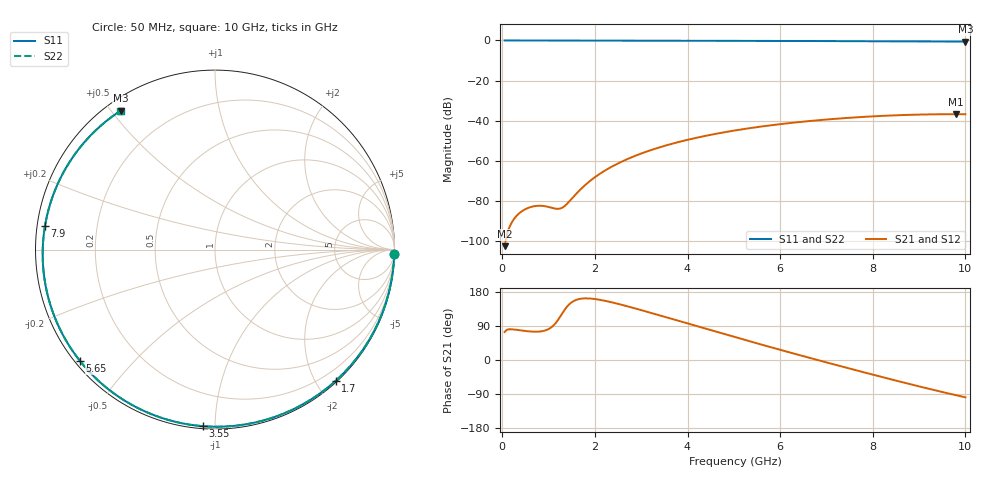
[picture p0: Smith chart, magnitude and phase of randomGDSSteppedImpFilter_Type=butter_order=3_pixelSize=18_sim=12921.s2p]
! freq	dB(S11)	phase(S11)	dB(S12)	phase(S12)
!  dB(S21)	phase(S21)	dB(S22)	phase(S22)
!S-par simulation data
#  GHz  S  DB  R 50
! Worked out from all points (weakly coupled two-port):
!   200 points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, 50 MHz to 10 GHz, reference 50 ohm
!   highest |S21| = -36.78 dB at 9.8 GHz (marker M1); lowest = -102.6 dB at 50 MHz (marker M2)
!   lowest |S11| = -0.6 dB at 10 GHz (marker M3), VSWR 30.03, Z = 2.13 + j26.4 ohm
!   |S11| at or under -10 dB: nowhere
!   |S22| runs from -0.6 to 0.0 dB; largest |S21 - S12| = 0
!   S11 on the Smith chart (normalised r, x): 50 MHz: 1, -83; 1.7 GHz: 0.02, -2.28; 3.55 GHz: 0.01, -0.93; 5.65 GHz: 0.01, -0.36; 7.9 GHz: 0.02, +0.07; 10 GHz: 0.04, +0.53
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0.05  -0.00 -1.4  -102.63 74.0  -102.63 74.0  -0.00 -1.4
0.7  -0.03 -19.8  -82.66 74.7  -82.66 74.7  -0.03 -19.8
1.05  -0.04 -29.6  -83.37 85.5  -83.37 85.5  -0.04 -29.6
1.45  -0.05 -40.6  -80.25 147.5  -80.25 147.5  -0.05 -40.5
1.7  -0.06 -47.3  -74.06 161.8  -74.06 161.8  -0.06 -47.2
1.75  -0.06 -48.7  -72.96 162.4  -72.96 162.4  -0.06 -48.6
2.05  -0.07 -56.6  -67.41 160.0  -67.41 160.0  -0.07 -56.5
2.45  -0.08 -67.0  -61.92 149.7  -61.92 149.7  -0.08 -66.8
2.9  -0.10 -78.3  -57.29 135.1  -57.29 135.1  -0.10 -78.1
3.4  -0.12 -90.4  -53.30 117.7  -53.30 117.7  -0.11 -90.2
3.55  -0.12 -94.0  -52.28 112.4  -52.28 112.4  -0.12 -93.8
4.25  -0.15 -110.1  -48.27 87.6  -48.27 87.6  -0.15 -109.9
5.05  -0.19 -127.7  -44.80 59.5  -44.80 59.5  -0.19 -127.5
5.65  -0.22 -140.6  -42.77 38.8  -42.77 38.8  -0.22 -140.3
6.2  -0.25 -152.1  -41.23 20.2  -41.23 20.2  -0.25 -151.9
6.7  -0.29 -162.6  -40.06 3.5  -40.06 3.5  -0.29 -162.3
7.3  -0.34 -175.2  -38.90 -16.1  -38.90 -16.1  -0.34 -174.9
7.9  -0.39 172.1  -37.99 -35.4  -37.99 -35.4  -0.39 172.4
8.35  -0.43 162.3  -37.48 -49.6  -37.48 -49.6  -0.43 162.6
9.05  -0.49 146.6  -36.96 -71.2  -36.96 -71.2  -0.49 147.0
9.8  -0.56 129.1  -36.78 -93.0  -36.78 -93.0  -0.56 129.5
10  -0.58 124.2  -36.79 -98.5  -36.79 -98.5  -0.58 124.7
